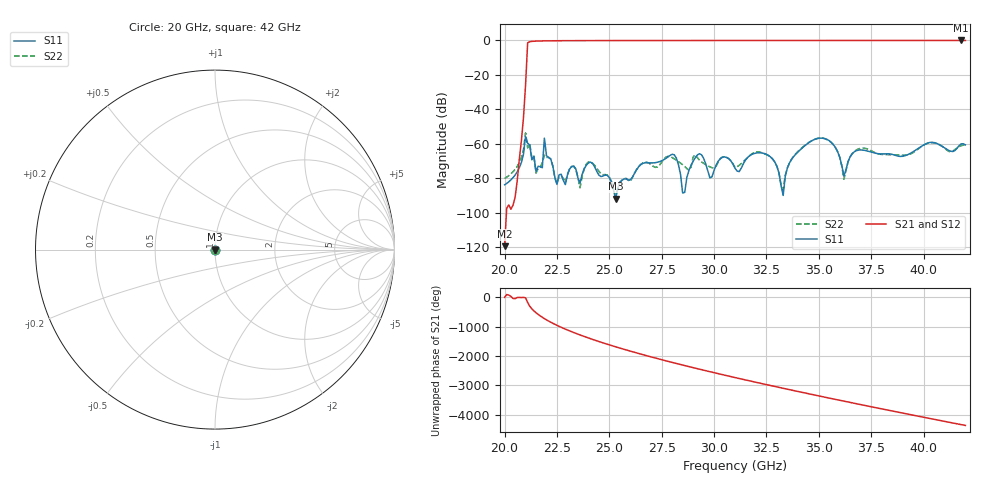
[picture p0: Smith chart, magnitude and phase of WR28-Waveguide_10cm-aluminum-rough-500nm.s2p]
! Touchstone file exported from HFSS 2019.2.0
!  File:  C:/Users/jgarrett/Documents/Ansoft/Waveguide/WR28-Waveguide.aedt
!  Generated:  12:10:17 PM  Mar 17, 2021
!  Design:  10cm-aluminum-rough-500nm
!  Project:  WR28-Waveguide
!  Setup:  Setup1
!  Solution:  Sweep
! Variables:
!  waveguideA = 280mil
!  waveguideB = 140mil
!  waveguideL = 10cm
!Data is not renormalized
# GHZ S MA
! Modal data exported
! Port[1] = 1:1
! Port[2] = 2:1
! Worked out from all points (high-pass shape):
!   221 points, 20 GHz to 42 GHz, reference per port
!   highest |S21| = -0.12 dB at 41.8 GHz (marker M1); lowest = -119.5 dB at 20 GHz (marker M2)
!   |S21| within 3 dB of the highest: 21.09 GHz to end of sweep
!   lowest |S11| = -92.0 dB at 25.3 GHz (marker M3), VSWR 1.00
!   |S11| at or under -10 dB: start of sweep to end of sweep
!   |S22| runs from -90.6 to -53.8 dB; largest |S21 - S12| = 6.2e-14
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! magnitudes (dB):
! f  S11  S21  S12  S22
! 20 GHz  -83.9  -119.5  -119.5  -80.2
! 20.6 GHz  -76.4  -81.7  -81.7  -73.2
! 20.9 GHz  -66.2  -45.0  -45.0  -63.6
! 21 GHz  -55.8  -26.1  -26.1  -53.8
! 21.1 GHz  -59.8  -1.5  -1.5  -62.5
! 21.5 GHz  -76.1  -0.5  -0.5  -77.1
! 21.8 GHz  -74.0  -0.4  -0.4  -71.0
! 21.9 GHz  -56.8  -0.4  -0.4  -66.7
! 22.4 GHz  -79.5  -0.3  -0.3  -80.2
! 23.7 GHz  -77.9  -0.2  -0.2  -79.3
! 25.3 GHz  -92.0  -0.2  -0.2  -90.6
! 27.4 GHz  -70.4  -0.2  -0.2  -72.4
! 31 GHz  -74.2  -0.1  -0.1  -73.9
! 32.2 GHz  -65.3  -0.1  -0.1  -65.0
! 33.3 GHz  -90.1  -0.1  -0.1  -86.7
! 34.7 GHz  -58.1  -0.1  -0.1  -58.1
! 35.7 GHz  -60.6  -0.1  -0.1  -60.7
! 36.2 GHz  -78.9  -0.1  -0.1  -80.6
! 36.8 GHz  -64.1  -0.1  -0.1  -63.6
! 38.4 GHz  -66.0  -0.1  -0.1  -66.4
! 41.8 GHz  -60.1  -0.1  -0.1  -61.2
! 42 GHz  -60.7  -0.1  -0.1  -60.8
